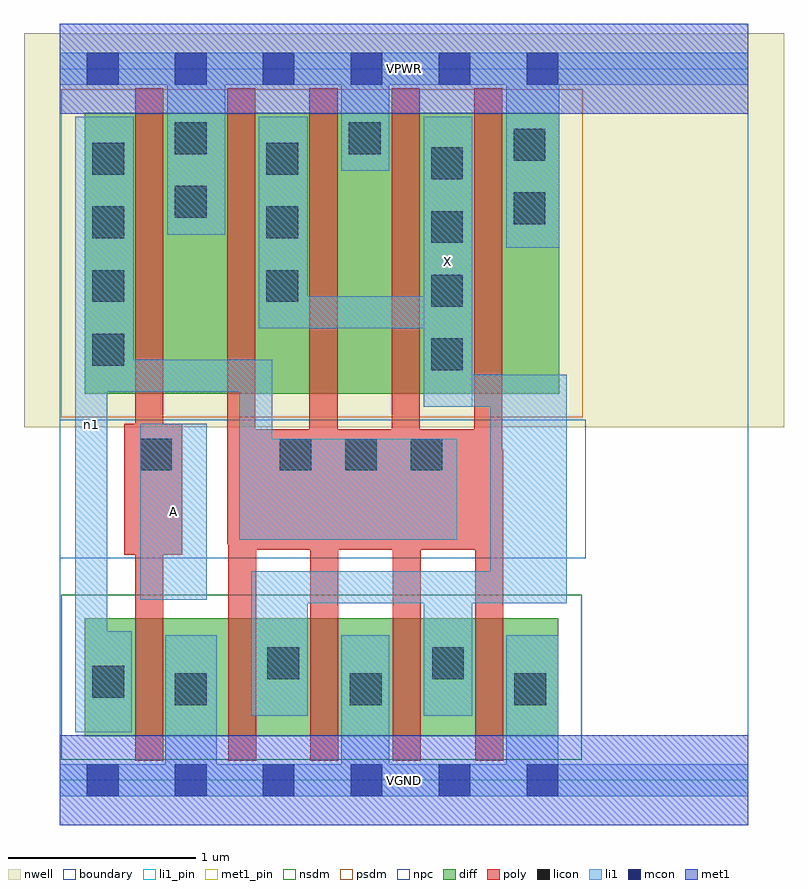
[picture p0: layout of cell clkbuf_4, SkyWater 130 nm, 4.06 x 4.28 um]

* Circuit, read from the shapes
.subckt clkbuf_4 A VGND VPWR X n1
XM1 VGND A n1 VSUBS sky130_fd_pr__nfet_01v8 w=0.63 l=0.15
XM2 X n1 VGND VSUBS sky130_fd_pr__nfet_01v8 w=0.63 l=0.15 m=4
XM3 VPWR A n1 n2 sky130_fd_pr__pfet_01v8 w=1.5 l=0.15
XM4 X n1 VPWR n2 sky130_fd_pr__pfet_01v8 w=1.5 l=0.15 m=4
.ends

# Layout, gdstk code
import gdstk
lib = gdstk.Library(unit=1e-6, precision=1e-09)
def R(c, l, rs):  # rectangles x0, y0, x1, y1
    for r in rs: c.add(gdstk.rectangle(r[:2], r[2:], *l))
def A(c, l, x, y, w, h, nx, ny, dx, dy):  # array of equal rectangles
    R(c, l, [(x+i*dx, y+j*dy, x+i*dx+w, y+j*dy+h) for i in range(nx) for j in range(ny)])
nwell = (64, 20)
diff = (65, 20)
poly = (66, 20)
licon = (66, 44)
li1_pin = (67, 16)
li1 = (67, 20)
mcon = (67, 44)
met1_pin = (68, 16)
met1 = (68, 20)
nsdm = (93, 44)
psdm = (94, 20)
npc = (95, 20)
boundary = (235, 4)

clkbuf_4 = lib.new_cell('clkbuf_4')
R(clkbuf_4, nwell, [(-0.19,1.885,3.87,3.99), (0,1.885,3.68,3.99)])
R(clkbuf_4, diff, [(0.135,0.235,2.665,0.865), (0.135,2.065,2.67,3.565)])
A(clkbuf_4, poly, 0.9, 0.105, 0.15, 1.77, 3, 1, 0.44, 0)
A(clkbuf_4, poly, 1.335, 1.23, 0.15, 2.465, 3, 1, 0.44, 0)
R(clkbuf_4, poly, [(0.405,0.105,0.555,3.695), (2.22,0.105,2.37,1.765), (0.345,1.205,0.655,1.905), (0.9,1.23,2.365,1.875), (0.895,1.26,1.045,3.695)])
A(clkbuf_4, licon, 1.175, 1.655, 0.17, 0.17, 3, 1, 0.35, 0)
A(clkbuf_4, licon, 1.985, 2.19, 0.17, 0.17, 1, 4, 0, 0.34)
A(clkbuf_4, licon, 0.175, 2.215, 0.17, 0.17, 1, 4, 0, 0.34)
A(clkbuf_4, licon, 1.105, 2.555, 0.17, 0.17, 1, 3, 0, 0.34)
R(clkbuf_4, licon, [(0.615,0.4,0.785,0.57), (1.55,0.4,1.72,0.57), (2.43,0.4,2.6,0.57), (0.175,0.44,0.345,0.61), (1.11,0.54,1.28,0.71), (1.99,0.54,2.16,0.71), (0.43,1.655,0.6,1.825), (2.425,2.97,2.595,3.14), (0.615,3.005,0.785,3.175), (2.425,3.31,2.595,3.48), (0.615,3.345,0.785,3.515), (1.545,3.345,1.715,3.515)])
R(clkbuf_4, li1_pin, [(0.43,0.965,0.785,1.905), (1.945,1.995,2.205,3.545)])
R(clkbuf_4, li1, [(0,-0.085,3.68,0.085), (0.565,-0.085,0.84,0.775), (1.505,-0.085,1.76,0.775), (2.385,-0.085,2.665,0.775), (0.085,0.255,0.255,3.545), (0.085,0.255,0.385,0.795), (1.025,0.345,1.325,1.115), (1.945,0.345,2.205,1.115), (1.025,0.945,2.71,1.115), (2.3,0.945,2.71,2.165), (0.43,0.965,0.785,1.905), (0.96,1.285,2.125,1.825), (0.96,1.285,1.135,2.245), (1.945,1.995,2.205,3.545), (1.945,1.995,2.71,2.165), (0.085,2.075,1.135,2.245), (0.085,2.075,0.395,3.545), (1.065,2.415,1.325,3.545), (1.065,2.415,2.205,2.585), (2.385,2.845,2.67,3.885), (0.575,2.915,0.885,3.885), (1.505,3.255,1.76,3.885), (0,3.715,3.68,3.885)])
A(clkbuf_4, mcon, 0.145, -0.085, 0.17, 0.17, 6, 2, 0.47, 3.8)
R(clkbuf_4, met1_pin, [(0,-0.24,3.68,0.24), (0,3.56,3.68,4.04)])
R(clkbuf_4, met1, [(0,-0.24,3.68,0.24), (0,3.56,3.68,4.04)])
R(clkbuf_4, nsdm, [(0.01,0.11,2.79,0.99)])
R(clkbuf_4, psdm, [(0.01,1.94,2.795,3.69)])
R(clkbuf_4, npc, [(0,1.185,2.81,1.925)])
R(clkbuf_4, boundary, [(0,0,3.68,3.8)])
clkbuf_4.add(gdstk.Label('A', (0.607,1.435), layer=67, texttype=5))
clkbuf_4.add(gdstk.Label('X', (2.075,2.77), layer=67, texttype=5))
clkbuf_4.add(gdstk.Label('n1', (0.17,1.9), layer=67, texttype=5))
clkbuf_4.add(gdstk.Label('VPWR', (1.84,3.8), layer=68, texttype=5))
clkbuf_4.add(gdstk.Label('VGND', (1.84,0), layer=68, texttype=5))
clkbuf_4.add(gdstk.Label('A', (0.607,1.435), layer=67, texttype=16))
clkbuf_4.add(gdstk.Label('X', (2.075,2.77), layer=67, texttype=16))
clkbuf_4.add(gdstk.Label('VPWR', (1.84,3.8), layer=68, texttype=16))
clkbuf_4.add(gdstk.Label('VGND', (1.84,0), layer=68, texttype=16))

lib.write_gds('clkbuf_4.gds')
